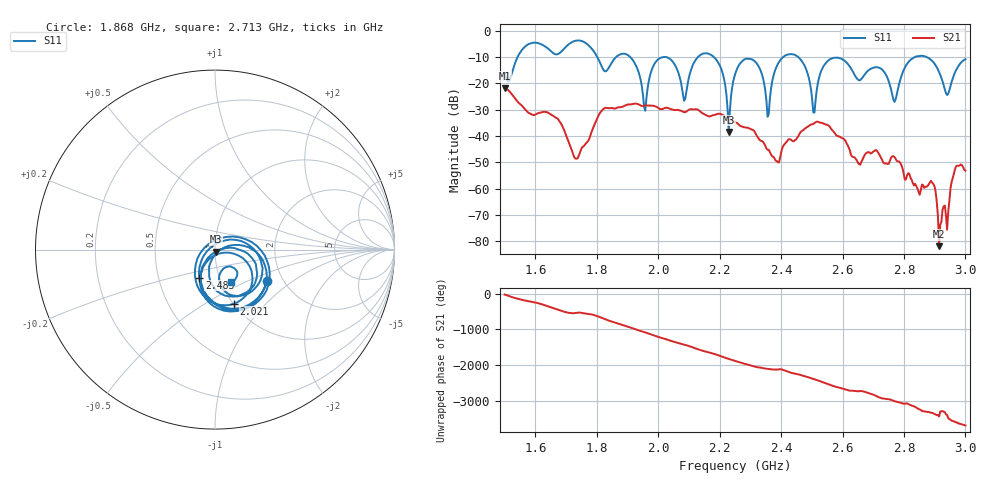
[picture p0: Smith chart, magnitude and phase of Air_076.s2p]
# HZ S RI R 50
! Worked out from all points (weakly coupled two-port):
!   404 points, 1.5 GHz to 3 GHz, reference 50 ohm
!   highest |S21| = -21.87 dB at 1.5 GHz (marker M1); lowest = -81.9 dB at 2.914 GHz (marker M2)
!   lowest |S11| = -38.4 dB at 2.23 GHz (marker M3), VSWR 1.02, Z = 50.5 - j1.1 ohm
!   |S11| at or under -10 dB: 2.182 GHz to 2.406 GHz (224.5 MHz wide, 9.78 % of centre); 2.456 GHz to 2.835 GHz (378.3 MHz wide, 14.3 % of centre); 2.875 GHz to end of sweep (the widest 3 of 7)
!   S12 and S22 are empty: the file has one direction only
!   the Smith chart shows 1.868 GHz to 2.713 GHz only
!   S11 on the Smith chart (normalised r, x): 1.868 GHz: 1.65, -0.65; 2.021 GHz: 1.00, -0.68; 2.483 GHz: 0.80, -0.26; 2.713 GHz: 1.11, -0.42
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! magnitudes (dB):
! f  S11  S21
! 1.5 GHz  -16.3  -21.9
! 1.753 GHz  -3.9  -44.2
! 1.868 GHz  -9.4  -29.1
! 1.958 GHz  -30.4  -28.3
! 2.002 GHz  -10.6  -29.5
! 2.021 GHz  -9.9  -29.4
! 2.084 GHz  -26.5  -30.9
! 2.177 GHz  -9.6  -32.1
! 2.23 GHz  -38.4  -33.6
! 2.252 GHz  -15.9  -34.8
! 2.315 GHz  -11.6  -38.6
! 2.356 GHz  -32.6  -45.2
! 2.386 GHz  -13.5  -49.5
! 2.483 GHz  -14.9  -36.8
! 2.501 GHz  -26.0  -35.6
! 2.565 GHz  -10.5  -37.5
! 2.713 GHz  -13.8  -45.9
! 2.751 GHz  -19.2  -50.5
! 2.892 GHz  -11.4  -57.8
! 2.914 GHz  -15.6  -81.9
! 2.94 GHz  -24.4  -75.7
! 3 GHz  -10.7  -53.2
